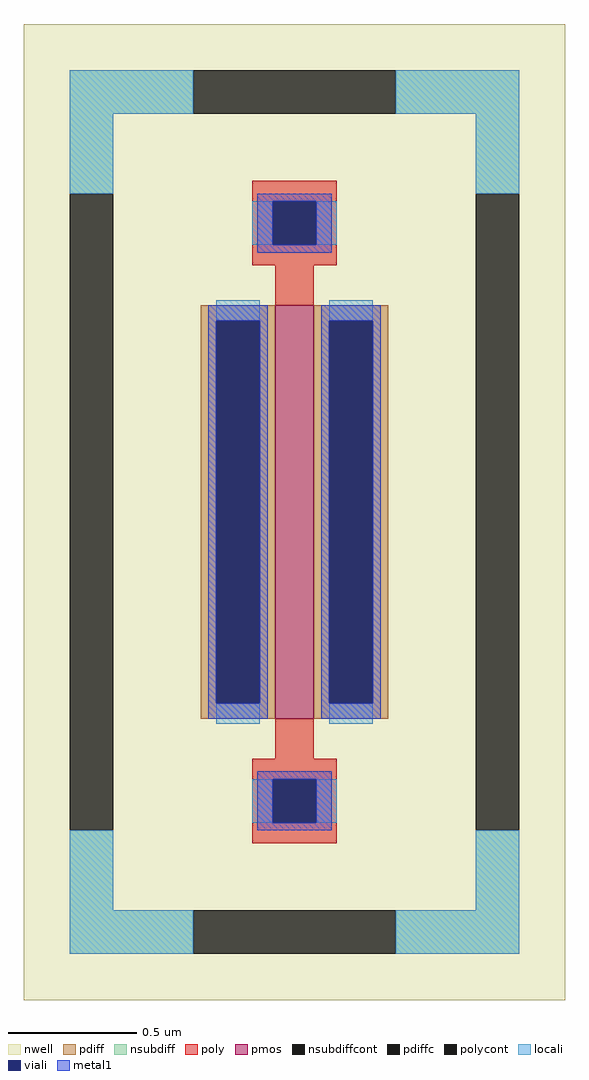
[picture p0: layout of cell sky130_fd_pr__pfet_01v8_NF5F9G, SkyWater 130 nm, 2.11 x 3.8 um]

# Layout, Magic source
magic
tech sky130A
magscale 1 2
<< nwell >>
rect -211 -380 211 380
<< pmos >>
rect -15 -161 15 161
<< pdiff >>
rect -73 149 -15 161
rect -73 -149 -61 149
rect -27 -149 -15 149
rect -73 -161 -15 -149
rect 15 149 73 161
rect 15 -149 27 149
rect 61 -149 73 149
rect 15 -161 73 -149
<< pdiffc >>
rect -61 -149 -27 149
rect 27 -149 61 149
<< nsubdiff >>
rect -175 310 -79 344
rect 79 310 175 344
rect -175 248 -141 310
rect 141 248 175 310
rect -175 -310 -141 -248
rect 141 -310 175 -248
rect -175 -344 -79 -310
rect 79 -344 175 -310
<< nsubdiffcont >>
rect -79 310 79 344
rect -175 -248 -141 248
rect 141 -248 175 248
rect -79 -344 79 -310
<< poly >>
rect -33 242 33 258
rect -33 208 -17 242
rect 17 208 33 242
rect -33 192 33 208
rect -15 161 15 192
rect -15 -192 15 -161
rect -33 -208 33 -192
rect -33 -242 -17 -208
rect 17 -242 33 -208
rect -33 -258 33 -242
<< polycont >>
rect -17 208 17 242
rect -17 -242 17 -208
<< locali >>
rect -175 310 -79 344
rect 79 310 175 344
rect -175 248 -141 310
rect 141 248 175 310
rect -33 208 -17 242
rect 17 208 33 242
rect -61 149 -27 165
rect -61 -165 -27 -149
rect 27 149 61 165
rect 27 -165 61 -149
rect -33 -242 -17 -208
rect 17 -242 33 -208
rect -175 -310 -141 -248
rect 141 -310 175 -248
rect -175 -344 -79 -310
rect 79 -344 175 -310
<< viali >>
rect -17 208 17 242
rect -61 -149 -27 149
rect 27 -149 61 149
rect -17 -242 17 -208
<< metal1 >>
rect -29 242 29 248
rect -29 208 -17 242
rect 17 208 29 242
rect -29 202 29 208
rect -67 149 -21 161
rect -67 -149 -61 149
rect -27 -149 -21 149
rect -67 -161 -21 -149
rect 21 149 67 161
rect 21 -149 27 149
rect 61 -149 67 149
rect 21 -161 67 -149
rect -29 -208 29 -202
rect -29 -242 -17 -208
rect 17 -242 29 -208
rect -29 -248 29 -242
<< properties >>
string FIXED_BBOX -158 -327 158 327
string gencell sky130_fd_pr__pfet_01v8
string library sky130
string parameters w 1.605 l 0.15 m 1 nf 1 diffcov 100 polycov 100 guard 1 glc 1 grc 1 gtc 1 gbc 1 tbcov 100 rlcov 100 topc 1 botc 1 poverlap 0 doverlap 1 lmin 0.15 wmin 0.42 compatible {sky130_fd_pr__pfet_01v8  sky130_fd_pr__pfet_01v8_lvt sky130_fd_pr__pfet_01v8_hvt  sky130_fd_pr__pfet_g5v0d10v5} full_metal 1 viasrc 100 viadrn 100 viagate 100 viagb 0 viagr 0 viagl 0 viagt 0
<< end >>
